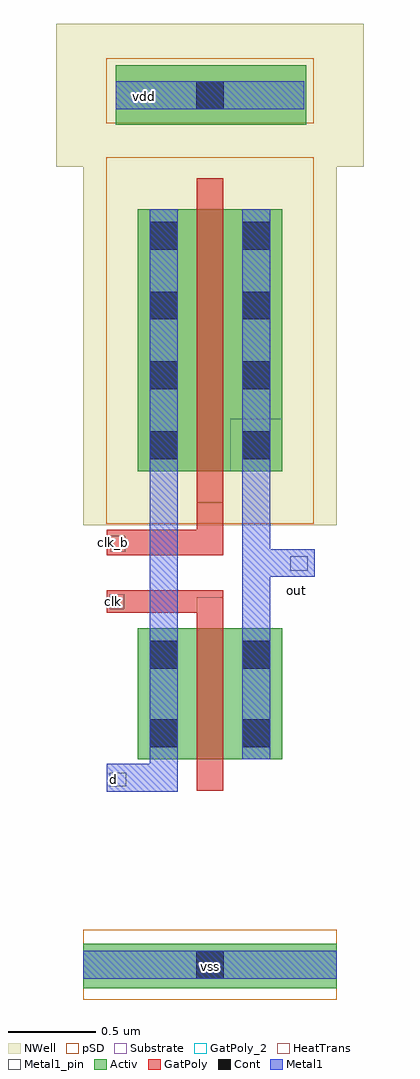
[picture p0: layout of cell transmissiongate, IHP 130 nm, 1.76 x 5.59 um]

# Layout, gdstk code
from math import pi, radians
import gdstk
lib = gdstk.Library(unit=1e-6, precision=5e-09)
def R(c, l, rs):  # rectangles x0, y0, x1, y1
    for r in rs: c.add(gdstk.rectangle(r[:2], r[2:], *l))
def A(c, l, x, y, w, h, nx, ny, dx, dy):  # array of equal rectangles
    R(c, l, [(x+i*dx, y+j*dy, x+i*dx+w, y+j*dy+h) for i in range(nx) for j in range(ny)])
Activ = (1, 0)
GatPoly = (5, 0)
GatPoly_2 = (5, 2)
Cont = (6, 0)
Metal1 = (8, 0)
Metal1_pin = (8, 2)
pSD = (14, 0)
NWell = (31, 0)
Substrate = (40, 0)
HeatTrans = (51, 0)

pmos_1 = lib.new_cell('pmos$1')
R(pmos_1, Activ, [(0,0,0.3,0.3), (0,0,0.83,1.5), (0.53,0,0.83,0.3)])
R(pmos_1, GatPoly, [(0.34,-0.18,0.49,1.68), (0.34,-0.18,0.49,1.68)])
A(pmos_1, Cont, 0.07, 0.07, 0.16, 0.16, 1, 4, 0, 0.4)
A(pmos_1, Cont, 0.6, 0.07, 0.16, 0.16, 1, 4, 0, 0.4)
R(pmos_1, Metal1, [(0.07,0,0.23,1.5), (0.07,0,0.23,1.5), (0.6,0,0.76,1.5), (0.6,0,0.76,1.5)])
R(pmos_1, pSD, [(-0.18,-0.3,1.01,1.8)])
R(pmos_1, NWell, [(-0.31,-0.31,1.14,1.81)])
R(pmos_1, Substrate, [(0.53,0,0.83,0.3)])
R(pmos_1, HeatTrans, [(0.34,-0.18,0.49,1.68)])
pmos_1.add(gdstk.Label('pmos', (0.415,0.75), layer=63, texttype=0))
pmos_1.add(gdstk.Label('pmos', (0.415,0.75), layer=51, texttype=0))

nmos_1 = lib.new_cell('nmos$1')
R(nmos_1, Activ, [(0,0,0.3,0.3), (0,0,0.83,0.75), (0.53,0,0.83,0.3)])
R(nmos_1, GatPoly, [(0.34,-0.18,0.49,0.93)])
R(nmos_1, GatPoly_2, [(0.34,-0.18,0.49,0.93)])
R(nmos_1, Cont, [(0.07,0.07,0.23,0.23), (0.6,0.07,0.76,0.23), (0.07,0.52,0.23,0.68), (0.6,0.52,0.76,0.68)])
R(nmos_1, Metal1, [(0.07,0,0.23,0.75), (0.6,0,0.76,0.75)])
R(nmos_1, Metal1_pin, [(0.07,0,0.23,0.75), (0.6,0,0.76,0.75)])
R(nmos_1, HeatTrans, [(0.34,-0.18,0.49,0.93)])
nmos_1.add(gdstk.Label('nmos', (0.415,0.375), layer=63, texttype=0))
nmos_1.add(gdstk.Label('nmos', (0.415,0.375), layer=51, texttype=0))

m1_cont1_pmos = lib.new_cell('M1_Cont1_PMOS')
R(m1_cont1_pmos, Activ, [(-0.535,-0.175,0.545,0.165)])
R(m1_cont1_pmos, Cont, [(-0.075,-0.085,0.085,0.075)])
R(m1_cont1_pmos, Metal1, [(-0.535,-0.085,0.545,0.075)])
R(m1_cont1_pmos, Metal1_pin, [(-0.535,-0.085,0.545,0.075)])
R(m1_cont1_pmos, NWell, [(-0.875,-0.415,0.885,0.405)])

m1_bulkcont1_pmos = lib.new_cell('M1_BulkCont1_PMOS')
r = gdstk.Reference(m1_cont1_pmos, (-0.015,-0.015)); r.repetition = gdstk.Repetition(1, 1, v1=(0,0), v2=(0,0)); m1_bulkcont1_pmos.add(r)

transmissiongate = lib.new_cell('transmissiongate')
R(transmissiongate, Activ, [(1.19,-3.175,2.64,-2.92), (1.41,1.77,2.465,2.11)])
R(transmissiongate, GatPoly, [(1.325,-1.025,1.99,-0.895), (1.325,-0.695,1.99,-0.55), (1.84,-0.57,1.99,-0.295)])
R(transmissiongate, GatPoly_2, [(1.34,-1.005,1.425,-0.92), (1.345,-0.675,1.43,-0.585)])
R(transmissiongate, Cont, [(1.835,-3.12,1.995,-2.96)])
R(transmissiongate, Metal1, [(1.19,-3.12,2.64,-2.96), (1.325,-2.05,1.73,-1.89), (1.57,-1.9,1.73,0.01), (2.1,-1.65,2.26,0.02), (2.1,-0.82,2.515,-0.66), (1.49,1.86,2.42,2.02)])
R(transmissiongate, Metal1_pin, [(1.19,-3.12,2.64,-2.96), (1.34,-2.02,1.435,-1.94), (2.375,-0.785,2.475,-0.7), (1.49,1.89,1.62,1.985)])
R(transmissiongate, pSD, [(1.19,-3.24,2.64,-2.84), (1.32,1.78,2.51,2.15)])
R(transmissiongate, NWell, [(1.19,1.53,2.64,2.35)])
transmissiongate.add(gdstk.Reference(pmos_1, (1.5,-0.215)))
transmissiongate.add(gdstk.Reference(nmos_1, (2.33,-1.115), rotation=pi))
transmissiongate.add(gdstk.Reference(m1_bulkcont1_pmos, (1.925,1.96)))
transmissiongate.add(gdstk.Label('vss', (1.915,-3.05), layer=8, texttype=2))
transmissiongate.add(gdstk.Label('d', (1.365,-1.98), layer=8, texttype=2))
transmissiongate.add(gdstk.Label('out', (2.41,-0.9), layer=8, texttype=2))
transmissiongate.add(gdstk.Label('vdd', (1.54,1.93), layer=8, texttype=2))
transmissiongate.add(gdstk.Label('clk', (1.36,-0.96), layer=5, texttype=2))
transmissiongate.add(gdstk.Label('clk_b', (1.365,-0.62), layer=5, texttype=2))

lib.write_gds('transmissiongate.gds')
